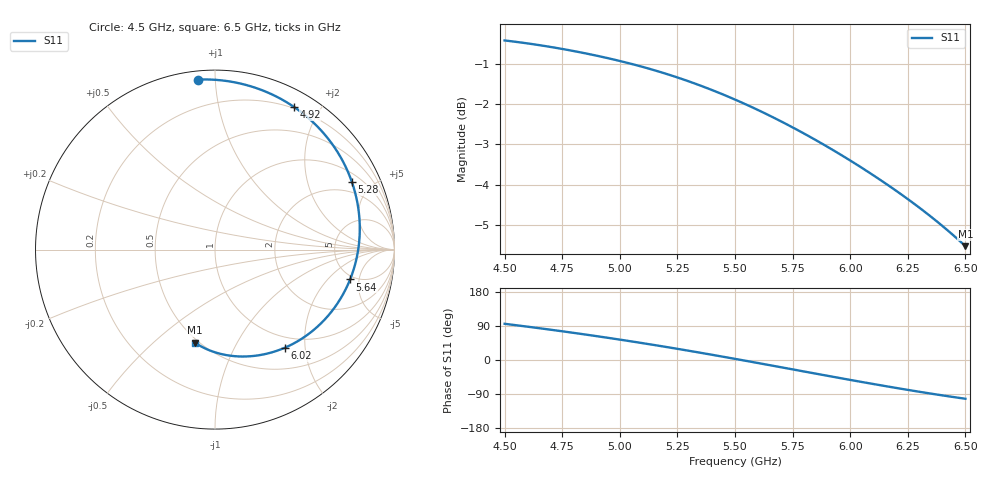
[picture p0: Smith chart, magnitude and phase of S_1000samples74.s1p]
! TOUCHSTONE file generated by CST MICROWAVE STUDIO
! Date and time: Wed Oct 26 21:44:17 2022
! Project name: L.cst
! Parameters = {Di=1.27; Epsilon_r=1.56; InnerDiameter=1.27; Length=2; Lf=10; Lg=60; OuterConductorThickness=0.2921; OuterDiameter=3.6; Wf=3; Wp=41.2; de=1.5; df=6.8; g=0.8; gx=3.6085; gy=4.88035; h=2.34; hf=1.524; px=13.2346; py=8.58507; w=9.7; wx=9.62606; wy=3.70472}
! Header version: 2018
! Port assignment regex: !\s*Touchstone port\s*([0-9]+)\s*=\s*(CST MWS port|CST DS port)\s*([0-9]+|Zmin|Zmax)\s*\(\"(.*)\"\)(\s*mode\s*([0-9]+))?.*
! Touchstone port assignment:
! Touchstone port 1 = CST MWS port 1 ("")
# GHz S DB R 50
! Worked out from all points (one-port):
!   101 points, 4.5 GHz to 6.5 GHz, reference 50 ohm
!   lowest |S11| = -5.5 dB at 6.5 GHz (marker M1), VSWR 3.25, Z = 23.9 - j34.4 ohm
!   |S11| at or under -10 dB: nowhere
!   S11 on the Smith chart (normalised r, x): 4.5 GHz: 0.05, +0.91; 4.92 GHz: 0.18, +1.68; 5.28 GHz: 1.38, +3.79; 5.64 GHz: 4.57, -3.74; 6.02 GHz: 0.82, -1.62; 6.5 GHz: 0.48, -0.69
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4.5  -0.43 95.6
4.58  -0.49 89.5
4.64  -0.54 84.7
4.76  -0.65 74.9
4.84  -0.74 68.1
4.92  -0.83 61.1
5  -0.94 53.8
5.06  -1.02 48.2
5.14  -1.15 40.5
5.26  -1.36 28.4
5.28  -1.40 26.4
5.34  -1.53 20.2
5.4  -1.66 13.8
5.5  -1.89 3.0
5.56  -2.04 -3.6
5.64  -2.26 -12.4
5.7  -2.43 -19.1
5.76  -2.61 -25.9
5.82  -2.80 -32.6
5.88  -2.99 -39.3
5.94  -3.19 -45.9
6  -3.40 -52.5
6.02  -3.47 -54.7
6.08  -3.69 -61.2
6.14  -3.91 -67.5
6.26  -4.39 -79.8
6.38  -4.92 -91.5
6.5  -5.52 -102.3
